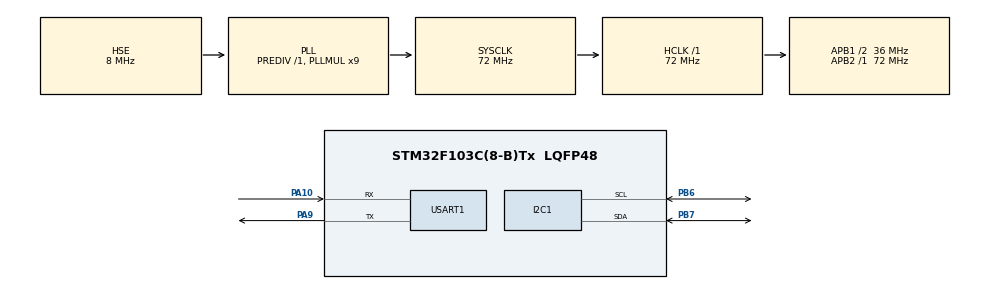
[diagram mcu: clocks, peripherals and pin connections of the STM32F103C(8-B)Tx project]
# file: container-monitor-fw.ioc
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Mcu.Family=STM32F1
Mcu.Name=STM32F103C(8-B)Tx
Mcu.Package=LQFP48
NVIC.PriorityGroup=NVIC_PRIORITYGROUP_4
NVIC.TIM2_IRQn=true\:0\:0\:false\:false\:true\:true\:true\:true
PA10.Mode=Asynchronous
PA10.Signal=USART1_RX
PA13.Mode=Serial_Wire
PA13.Signal=SYS_JTMS-SWDIO
PA14.Mode=Serial_Wire
PA14.Signal=SYS_JTCK-SWCLK
PA9.Mode=Asynchronous
PA9.Signal=USART1_TX
PB6.Mode=I2C
PB6.Signal=I2C1_SCL
PB7.Mode=I2C
PB7.Signal=I2C1_SDA
PD0-OSC_IN.Mode=HSE-External-Oscillator
PD0-OSC_IN.Signal=RCC_OSC_IN
PD1-OSC_OUT.Mode=HSE-External-Oscillator
PD1-OSC_OUT.Signal=RCC_OSC_OUT
ProjectManager.HeapSize=0x200
ProjectManager.StackSize=0x400
ProjectManager.TargetToolchain=STM32CubeIDE
RCC.AHBFreq_Value=72000000
RCC.APB1CLKDivider=RCC_HCLK_DIV2
RCC.APB1Freq_Value=36000000
RCC.APB1TimFreq_Value=72000000
RCC.APB2Freq_Value=72000000
RCC.APB2TimFreq_Value=72000000
RCC.HCLKFreq_Value=72000000
RCC.PLLMUL=RCC_PLL_MUL9
RCC.PLLSourceVirtual=RCC_PLLSOURCE_HSE
RCC.SYSCLKFreq_VALUE=72000000
RCC.SYSCLKSource=RCC_SYSCLKSOURCE_PLLCLK
RCC.USBFreq_Value=72000000
TIM2.Period=199
TIM2.Prescaler=7199
USART1.VirtualMode=VM_ASYNC
VP_TIM2_VS_ClockSourceINT.Mode=Internal
board=custom

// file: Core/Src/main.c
/* USER CODE BEGIN Header */
/**
  ******************************************************************************
  * @file           : main.c
  * @brief          : Main program body
  ******************************************************************************
  * @attention
  *
  * Copyright (c) 2026 STMicroelectronics.
  * All rights reserved.
  *
  * This software is licensed under terms that can be found in the LICENSE file
  * in the root directory of this software component.
  * If no LICENSE file comes with this software, it is provided AS-IS.
  *
  ******************************************************************************
  */
/* USER CODE END Header */
/* Test PR for AI code review */
#include "main.h"
#include "i2c.h"
#include "tim.h"
#include "usart.h"
#include "gpio.h"

/* USER CODE BEGIN Includes */
#include <stdio.h>
#include <string.h>
#include "mpu6050.h"
#include "bme680_hal.h"
/* USER CODE END Includes */

/* USER CODE BEGIN PV */
static uint32_t imu_seq = 0;
static uint32_t env_seq = 0;
static uint32_t tick_count = 0;
static uint8_t  bme680_ready = 0;
volatile uint8_t imu_flag = 0;   /* 由 TIM2 中断置 1，主循环清零 */
#define ENV_TICKS 45000U   /* 50 Hz * 60 s * 15 min */
/* USER CODE END PV */

void SystemClock_Config(void);

int main(void)
{

  /* MCU Configuration--------------------------------------------------------*/

  /* Reset of all peripherals, Initializes the Flash interface and the Systick. */
  HAL_Init();

  /* Configure the system clock */
  SystemClock_Config();

  /* Initialize all configured peripherals */
  MX_GPIO_Init();
  MX_I2C1_Init();
  MX_TIM2_Init();
  MX_USART1_UART_Init();
  /* USER CODE BEGIN 2 */
  HAL_Delay(300);
  const char *banner = "# container-monitor v0.1\r\n";
  HAL_UART_Transmit(&huart1, (uint8_t *)banner, strlen(banner), 100);
  if (MPU6050_Init() != HAL_OK) {
    const char *err = "# MPU6050 init FAILED\r\n";
    HAL_UART_Transmit(&huart1, (uint8_t *)err, strlen(err), 100);
    Error_Handler();
  }
  if (BME680_Init() == HAL_OK) {
    bme680_ready = 1;
  } else {
    const char *warn = "# BME680 init FAILED, env disabled\r\n";
    HAL_UART_Transmit(&huart1, (uint8_t *)warn, strlen(warn), 100);
  }
  HAL_TIM_Base_Start_IT(&htim2);  /* 启动 TIM2，50Hz 中断开始触发 */
  /* USER CODE END 2 */

  /* Infinite loop */
  while (1)
  {

    /* USER CODE BEGIN 3 */
    if (imu_flag) {
      imu_flag = 0;

      int16_t ax, ay, az, gx, gy, gz;
      if (MPU6050_Read(&ax, &ay, &az, &gx, &gy, &gz) != HAL_OK) continue;

      char buf[64];
      int len = snprintf(buf, sizeof(buf), "I,%u,%u,%d,%d,%d,%d,%d,%d\r\n",
                         (unsigned)imu_seq++, (unsigned)HAL_GetTick(),
                         ax, ay, az, gx, gy, gz);
      HAL_UART_Transmit(&huart1, (uint8_t *)buf, (uint16_t)len, 20);

      if (++tick_count >= ENV_TICKS) {
        tick_count = 0;
        if (bme680_ready) {
          BME680_Result env;
          if (BME680_ReadForced(&env) == HAL_OK) {
            char ebuf[80];
            int elen = snprintf(ebuf, sizeof(ebuf),
                                "E,%u,%u,%.2f,%.2f,%.2f,%u\r\n",
                                (unsigned)env_seq++, (unsigned)HAL_GetTick(),
                                (double)env.temperature,
                                (double)env.humidity,
                                (double)env.pressure,
                                (unsigned)env.gas_resistance);
            HAL_UART_Transmit(&huart1, (uint8_t *)ebuf, (uint16_t)elen, 50);
          }
        }
      }
    }
  }
  /* USER CODE END 3 */
}

void SystemClock_Config(void)
{
  RCC_OscInitTypeDef RCC_OscInitStruct = {0};
  RCC_ClkInitTypeDef RCC_ClkInitStruct = {0};

  /** Initializes the RCC Oscillators according to the specified parameters
  * in the RCC_OscInitTypeDef structure.
  */
  RCC_OscInitStruct.OscillatorType = RCC_OSCILLATORTYPE_HSE;
  RCC_OscInitStruct.HSEState = RCC_HSE_ON;
  RCC_OscInitStruct.HSEPredivValue = RCC_HSE_PREDIV_DIV1;
  RCC_OscInitStruct.HSIState = RCC_HSI_ON;
  RCC_OscInitStruct.PLL.PLLState = RCC_PLL_ON;
  RCC_OscInitStruct.PLL.PLLSource = RCC_PLLSOURCE_HSE;
  RCC_OscInitStruct.PLL.PLLMUL = RCC_PLL_MUL9;
  if (HAL_RCC_OscConfig(&RCC_OscInitStruct) != HAL_OK)
  {
    Error_Handler();
  }

  /** Initializes the CPU, AHB and APB buses clocks
  */
  RCC_ClkInitStruct.ClockType = RCC_CLOCKTYPE_HCLK|RCC_CLOCKTYPE_SYSCLK
                              |RCC_CLOCKTYPE_PCLK1|RCC_CLOCKTYPE_PCLK2;
  RCC_ClkInitStruct.SYSCLKSource = RCC_SYSCLKSOURCE_PLLCLK;
  RCC_ClkInitStruct.AHBCLKDivider = RCC_SYSCLK_DIV1;
  RCC_ClkInitStruct.APB1CLKDivider = RCC_HCLK_DIV2;
  RCC_ClkInitStruct.APB2CLKDivider = RCC_HCLK_DIV1;

  if (HAL_RCC_ClockConfig(&RCC_ClkInitStruct, FLASH_LATENCY_2) != HAL_OK)
  {
    Error_Handler();
  }
}

void Error_Handler(void)
{
  __disable_irq();
  while (1)
  {
  }
}
